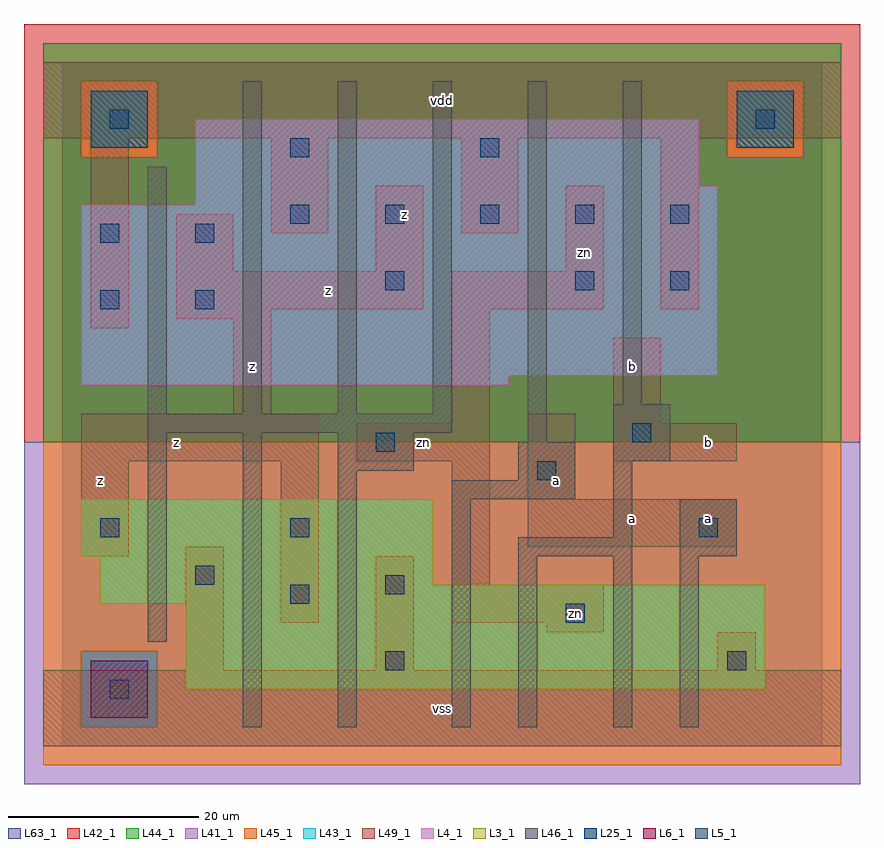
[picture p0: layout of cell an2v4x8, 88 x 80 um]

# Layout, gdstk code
import gdstk
lib = gdstk.Library(unit=1e-6, precision=1e-09)
def R(c, l, rs):  # rectangles x0, y0, x1, y1
    for r in rs: c.add(gdstk.rectangle(r[:2], r[2:], *l))
def A(c, l, x, y, w, h, nx, ny, dx, dy):  # array of equal rectangles
    R(c, l, [(x+i*dx, y+j*dy, x+i*dx+w, y+j*dy+h) for i in range(nx) for j in range(ny)])
L3_1 = (3, 1)
L4_1 = (4, 1)
L5_1 = (5, 1)
L6_1 = (6, 1)
L25_1 = (25, 1)
L41_1 = (41, 1)
L42_1 = (42, 1)
L43_1 = (43, 1)
L44_1 = (44, 1)
L45_1 = (45, 1)
L46_1 = (46, 1)
L49_1 = (49, 1)
L63_1 = (63, 1)

an2v4x8 = lib.new_cell('an2v4x8')
R(an2v4x8, L3_1, [(13,6,74,15), (4,15,74,17), (4,17,39,20), (2,20,39,26)])
R(an2v4x8, L4_1, [(2,38,47,39), (2,39,69,57), (14,57,69,59), (14,59,67,66)])
R(an2v4x8, L5_1, [(3,63,9,69), (71,63,77,69)])
R(an2v4x8, L6_1, [(3,3,9,9), (3,3,9,9)])
A(an2v4x8, L25_1, 24, 55, 2, 2, 5, 1, 10, 0)
R(an2v4x8, L25_1, [(5,5,7,7), (34,8,36,10), (70,8,72,10), (53,13,55,15), (24,15,26,17), (34,16,36,18), (14,17,16,19), (4,22,6,24), (24,22,26,24), (67,22,69,24), (50,28,52,30), (33,31,35,33), (60,32,62,34), (4,46,6,48), (14,46,16,48), (34,48,36,50), (54,48,56,50), (64,48,66,50), (4,53,6,55), (14,53,16,55), (24,62,26,64), (44,62,46,64), (5,65,7,67), (73,65,75,67)])
R(an2v4x8, L41_1, [(-4,-4,84,32)])
R(an2v4x8, L42_1, [(-4,32,84,76)])
R(an2v4x8, L43_1, [(3,3,9,9), (13,6,74,15), (4,15,74,17), (4,17,39,20), (2,20,39,26), (2,38,47,39), (2,39,69,57), (14,57,69,59), (14,59,67,66), (3,63,9,69), (71,63,77,69)])
R(an2v4x8, L44_1, [(2,2,10,10), (-2,32,82,62), (-2,62,2,70), (10,62,70,70), (78,62,82,70), (-2,70,82,74)])
R(an2v4x8, L45_1, [(-2,-2,82,2), (-2,2,2,10), (10,2,82,10), (-2,10,82,32), (2,62,10,70), (70,62,78,70)])
A(an2v4x8, L46_1, 19, 35, 2, 35, 3, 1, 10, 0)
R(an2v4x8, L46_1, [(19,2,21,33), (29,2,31,29), (41,2,43,26), (48,2,50,20), (58,2,60,20), (65,2,67,20), (9,11,11,33), (48,20,60,22), (65,20,71,26), (58,22,60,30), (41,26,54,28), (48,28,54,32), (29,29,37,33), (58,30,64,36), (49,32,51,70), (9,33,41,35), (9,35,11,61), (59,36,61,70)])
R(an2v4x8, L49_1, [(-2,0,82,8), (13,8,17,21), (33,8,37,20), (69,8,73,12), (51,12,57,13), (23,13,27,30), (41,13,57,17), (41,17,45,30), (2,20,7,30), (49,21,71,26), (49,26,54,35), (2,30,27,35), (31,30,45,34), (58,30,71,34), (41,34,45,46), (58,34,63,43), (18,35,22,45), (3,44,7,64), (12,45,22,46), (12,46,38,50), (41,46,57,50), (63,46,67,64), (12,50,18,56), (33,50,38,59), (53,50,57,59), (22,54,28,64), (42,54,48,64), (-2,64,82,72)])
R(an2v4x8, L63_1, [(0,0,80,72)])
an2v4x8.add(gdstk.Label('z', (4,28), layer=49, texttype=1))
an2v4x8.add(gdstk.Label('z', (12,32), layer=49, texttype=1))
an2v4x8.add(gdstk.Label('z', (20,40), layer=49, texttype=1))
an2v4x8.add(gdstk.Label('z', (28,48), layer=49, texttype=1))
an2v4x8.add(gdstk.Label('vss', (40,4), layer=49, texttype=1))
an2v4x8.add(gdstk.Label('zn', (38,32), layer=49, texttype=1))
an2v4x8.add(gdstk.Label('z', (36,56), layer=49, texttype=1))
an2v4x8.add(gdstk.Label('vdd', (40,68), layer=49, texttype=1))
an2v4x8.add(gdstk.Label('zn', (54,14), layer=49, texttype=1))
an2v4x8.add(gdstk.Label('a', (60,24), layer=49, texttype=1))
an2v4x8.add(gdstk.Label('a', (52,28), layer=49, texttype=1))
an2v4x8.add(gdstk.Label('b', (60,40), layer=49, texttype=1))
an2v4x8.add(gdstk.Label('zn', (55,52), layer=49, texttype=1))
an2v4x8.add(gdstk.Label('a', (68,24), layer=49, texttype=1))
an2v4x8.add(gdstk.Label('b', (68,32), layer=49, texttype=1))

lib.write_gds('an2v4x8.gds')
